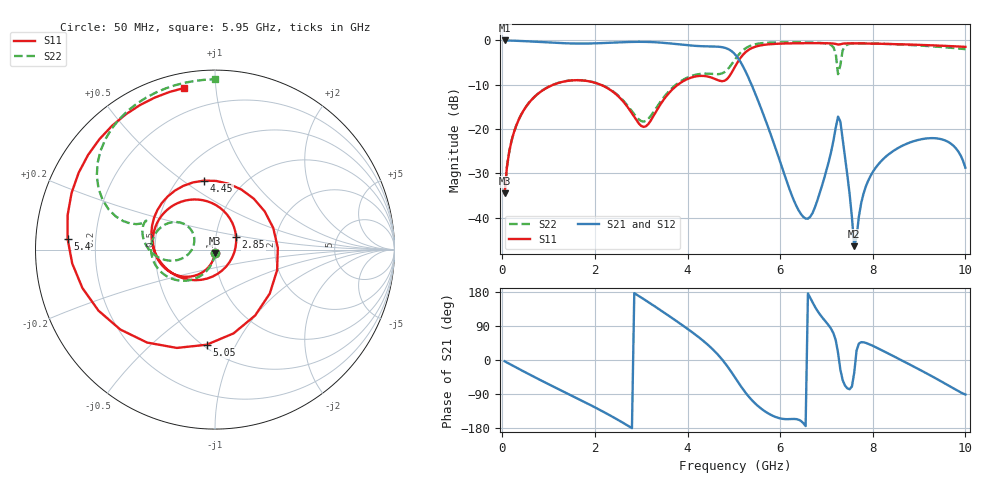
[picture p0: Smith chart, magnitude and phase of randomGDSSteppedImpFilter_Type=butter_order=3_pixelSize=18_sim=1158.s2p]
! freq	dB(S11)	phase(S11)	dB(S12)	phase(S12)
!  dB(S21)	phase(S21)	dB(S22)	phase(S22)
!S-par simulation data
#  GHz  S  DB  R 50
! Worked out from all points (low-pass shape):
!   200 points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, 50 MHz to 10 GHz, reference 50 ohm
!   highest |S21| = -0.02 dB at 50 MHz (marker M1); lowest = -46.5 dB at 7.6 GHz (marker M2)
!   |S21| within 3 dB of the highest: start of sweep to 5.012 GHz
!   lowest |S11| = -34.5 dB at 50 MHz (marker M3), VSWR 1.04, Z = 50 - j1.88 ohm
!   |S11| at or under -10 dB: start of sweep to 1.104 GHz; 2.12 GHz to 3.793 GHz (1.673 GHz wide, 56.6 % of centre)
!   |S22| runs from -34.5 to -0.4 dB; largest |S21 - S12| = 0
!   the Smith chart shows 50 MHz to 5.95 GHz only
!   S11 on the Smith chart (normalised r, x): 50 MHz: 1.00, -0.04; 2.85 GHz: 1.25, +0.18; 4.45 GHz: 0.67, +0.60; 5.05 GHz: 0.52, -0.77; 5.4 GHz: 0.10, +0.04; 5.95 GHz: 0.07, +0.83
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0.05  -34.52 -90.3  -0.02 -3.3  -0.02 -3.3  -34.51 -89.7
0.2  -22.67 -103.8  -0.05 -13.2  -0.05 -13.2  -22.65 -101.7
0.5  -15.17 -125.6  -0.19 -32.6  -0.19 -32.6  -15.16 -120.3
1.75  -9.05 148.1  -0.72 -109.4  -0.72 -109.4  -9.03 172.5
2.85  -17.29 30.6  -0.34 176.4  -0.34 176.4  -16.68 145.1
3.4  -14.70 -114.1  -0.49 132.8  -0.49 132.8  -14.08 -164.6
4  -8.72 165.1  -1.09 82.2  -1.09 82.2  -8.39 177.3
4.45  -8.20 99.0  -1.36 39.0  -1.36 39.0  -7.51 159.3
4.8  -9.11 1.6  -1.66 -6.8  -1.66 -6.8  -7.14 160.8
5.05  -5.48 -95.1  -3.45 -50.8  -3.45 -50.8  -3.96 159.3
5.4  -1.69 175.8  -10.44 -107.2  -10.44 -107.2  -1.05 130.4
5.95  -0.76 100.7  -25.85 -152.4  -25.85 -152.4  -0.45 90.1
6.4  -0.65 57.9  -38.38 -157.6  -38.38 -157.6  -0.45 61.7
6.7  -0.63 32.7  -38.96 152.0  -38.96 152.0  -0.50 42.5
7.1  -0.67 1.6  -25.20 82.4  -25.20 82.4  -1.05 9.8
7.25  -0.94 -8.9  -17.21 18.8  -17.21 18.8  -7.63 -5.9
7.35  -0.74 -14.5  -22.24 -53.2  -22.24 -53.2  -2.24 30.3
7.6  -0.67 -32.4  -46.46 -33.4  -46.46 -33.4  -0.69 -0.3
7.85  -0.70 -49.0  -32.98 45.2  -32.98 45.2  -0.67 -18.6
8.35  -0.81 -80.4  -25.67 16.2  -25.67 16.2  -0.82 -51.7
9.15  -1.06 -129.7  -22.15 -34.5  -22.15 -34.5  -1.25 -104.6
10  -1.46 167.9  -28.75 -91.1  -28.75 -91.1  -1.99 -169.0
